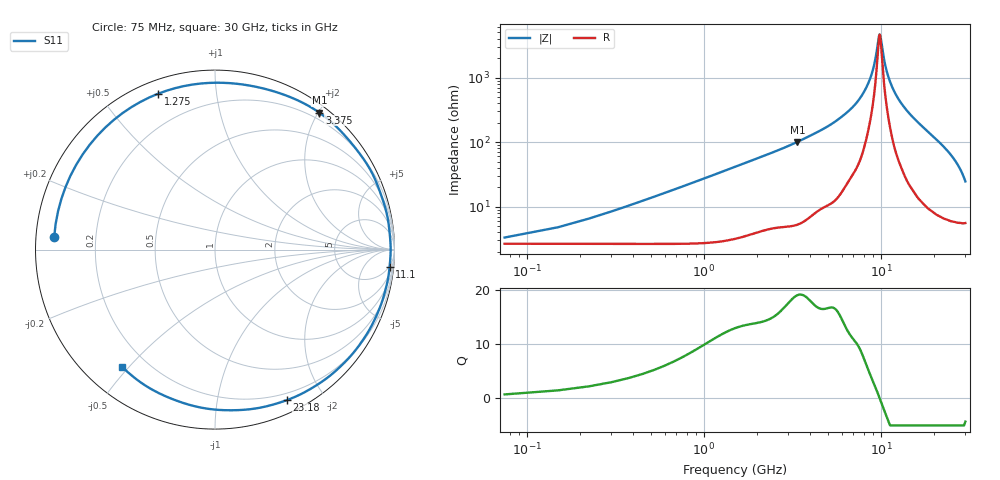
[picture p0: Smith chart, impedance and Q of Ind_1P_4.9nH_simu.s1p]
#  Hz  S  RI  R  50
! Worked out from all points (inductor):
!   400 points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, 75 MHz to 30 GHz, reference 50 ohm
!   read as one part to ground: L = 4.24 nH near 300 MHz
!   highest Q = 19.1 at 3.375 GHz (marker M1), where L = 4.75 nH
!   self-resonance near 9.825 GHz
!   S11 on the Smith chart (normalised r, x): 75 MHz: 0.05, +0.04; 1.275 GHz: 0.06, +0.70; 3.375 GHz: 0.11, +2.01; 11.1 GHz: 4, -19; 23.18 GHz: 0.13, -1.58; 30 GHz: 0.11, -0.48
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7.5e7  -0.8959 0.0719
3.75e8  -0.8328 0.3485
7.5e8  -0.6555 0.6347
9.75e8  -0.516 0.7597
1.275e9  -0.3172 0.8684
1.5e9  -0.1722 0.9112
1.725e9  -0.0386 0.9284
2.25e9  0.218 0.9091
2.775e9  0.4123 0.8524
3.375e9  0.5814 0.763
3.825e9  0.6736 0.6874
4.575e9  0.7782 0.5708
5.475e9  0.8641 0.4468
7.575e9  0.9558 0.2054
9.375e9  0.9776 0.0398
1.11e10  0.9726 -0.0985
1.1325e10  0.9708 -0.1154
1.5075e10  0.8954 -0.3774
1.8825e10  0.7364 -0.6141
2.07e10  0.6159 -0.7216
2.2575e10  0.4599 -0.8142
2.3175e10  0.4009 -0.8385
2.4825e10  0.2167 -0.8866
2.6325e10  0.0203 -0.8931
2.73e10  -0.1211 -0.8707
2.835e10  -0.2767 -0.8164
2.9175e10  -0.401 -0.7488
3e10  -0.5161 -0.6549
